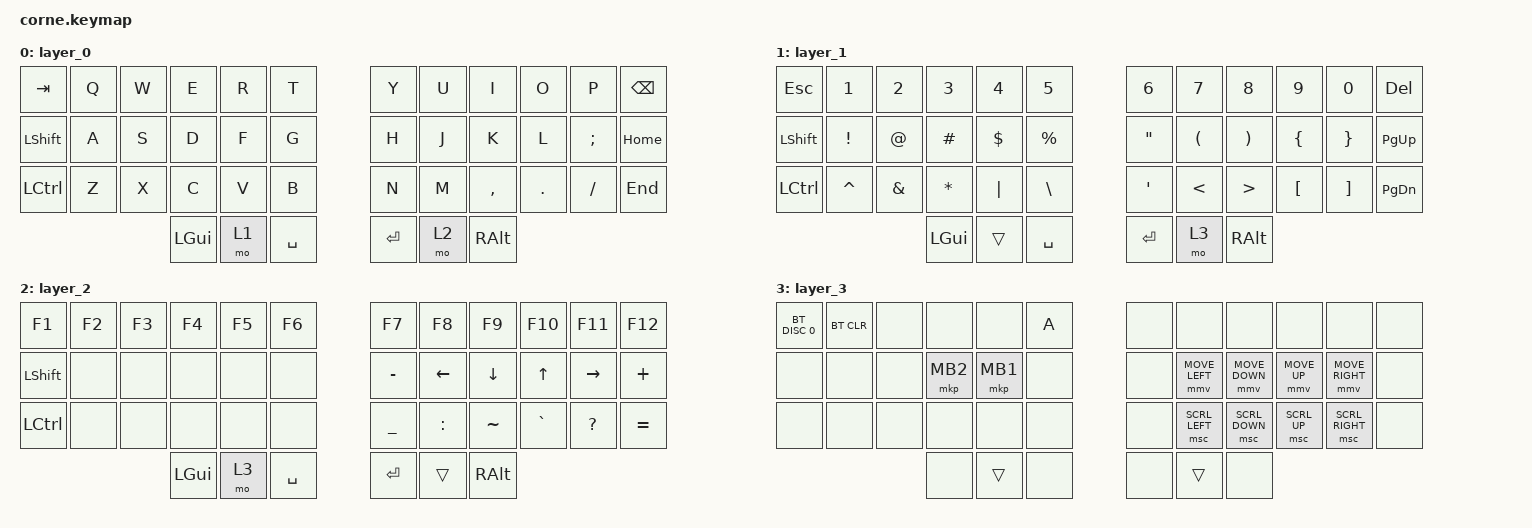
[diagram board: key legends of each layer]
#include <behaviors.dtsi>
#include <dt-bindings/zmk/bt.h>
#include <dt-bindings/zmk/keys.h>
#include <dt-bindings/zmk/pointing.h>

/ {
    keymap {
        compatible = "zmk,keymap";

        layer_0 {
            bindings = <
&kp TAB    &kp Q  &kp W  &kp E     &kp R  &kp T        &kp Y      &kp U  &kp I      &kp O    &kp P     &kp BSPC
&kp LSHFT  &kp A  &kp S  &kp D     &kp F  &kp G        &kp H      &kp J  &kp K      &kp L    &kp SEMI  &kp HOME
&kp LCTRL  &kp Z  &kp X  &kp C     &kp V  &kp B        &kp N      &kp M  &kp COMMA  &kp DOT  &kp FSLH  &kp END
                         &kp LGUI  &mo 1  &kp SPACE    &kp ENTER  &mo 2  &kp RALT
            >;
        };

        layer_1 {
            bindings = <
&kp ESC    &kp N1           &kp N2         &kp N3        &kp N4      &kp N5         &kp N6             &kp N7                &kp N8                 &kp N9          &kp N0           &kp DEL
&kp LSHFT  &kp EXCLAMATION  &kp AT_SIGN    &kp HASH      &kp DOLLAR  &kp PERCENT    &kp DOUBLE_QUOTES  &kp LEFT_PARENTHESIS  &kp RIGHT_PARENTHESIS  &kp LEFT_BRACE  &kp RIGHT_BRACE  &kp PG_UP
&kp LCTRL  &kp CARET        &kp AMPERSAND  &kp ASTERISK  &kp PIPE    &kp BSLH       &kp SQT            &kp LESS_THAN         &kp GREATER_THAN       &kp LBKT        &kp RBKT         &kp PAGE_DOWN
                                           &kp LEFT_GUI  &trans      &kp SPACE      &kp ENTER          &mo 3                 &kp RIGHT_ALT
            >;
        };

        layer_2 {
            bindings = <
&kp F1     &kp F2  &kp F3  &kp F4    &kp F5  &kp F6       &kp F7          &kp F8          &kp F9     &kp F10    &kp F11       &kp F12
&kp LSHFT  &none   &none   &none     &none   &none        &kp MINUS       &kp LEFT_ARROW  &kp DOWN   &kp UP     &kp RIGHT     &kp PLUS
&kp LCTRL  &none   &none   &none     &none   &none        &kp UNDERSCORE  &kp COLON       &kp TILDE  &kp GRAVE  &kp QUESTION  &kp EQUAL
                           &kp LGUI  &mo 3   &kp SPACE    &kp ENTER       &trans          &kp RALT
            >;
        };

        layer_3 {
            bindings = <
&bt BT_DISC 0  &bt BT_CLR  &none  &none     &none     &kp A    &none  &none           &none           &none         &none            &none
&none          &none       &none  &mkp MB2  &mkp MB1  &none    &none  &mmv MOVE_LEFT  &mmv MOVE_DOWN  &mmv MOVE_UP  &mmv MOVE_RIGHT  &none
&none          &none       &none  &none     &none     &none    &none  &msc SCRL_LEFT  &msc SCRL_DOWN  &msc SCRL_UP  &msc SCRL_RIGHT  &none
                                  &none     &trans    &none    &none  &trans          &none
            >;
        };
    };
};
